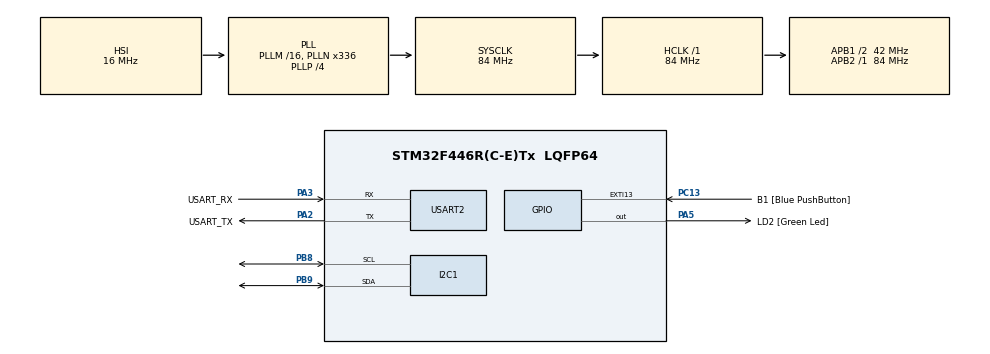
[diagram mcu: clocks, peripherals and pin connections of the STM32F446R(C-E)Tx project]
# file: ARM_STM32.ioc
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Mcu.Family=STM32F4
Mcu.Name=STM32F446R(C-E)Tx
Mcu.Package=LQFP64
NVIC.PriorityGroup=NVIC_PRIORITYGROUP_0
PA13.GPIO_Label=TMS
PA13.Mode=Serial_Wire
PA13.Signal=SYS_JTMS-SWDIO
PA14.GPIO_Label=TCK
PA14.Mode=Serial_Wire
PA14.Signal=SYS_JTCK-SWCLK
PA2.GPIO_Label=USART_TX
PA2.Mode=Asynchronous
PA2.Signal=USART2_TX
PA3.GPIO_Label=USART_RX
PA3.Mode=Asynchronous
PA3.Signal=USART2_RX
PA5.GPIO_Label=LD2 [Green Led]
PA5.Signal=GPIO_Output
PB3.GPIO_Label=SWO
PB3.Signal=SYS_JTDO-SWO
PB8.GPIO_Pu=GPIO_PULLUP
PB8.Mode=I2C
PB8.Signal=I2C1_SCL
PB9.GPIO_Pu=GPIO_PULLUP
PB9.Mode=I2C
PB9.Signal=I2C1_SDA
PC13.GPIO_Label=B1 [Blue PushButton]
PC13.GPIO_ModeDefaultEXTI=GPIO_MODE_IT_FALLING
PC13.Signal=GPXTI13
PC14-OSC32_IN.Mode=LSE-External-Oscillator
PC14-OSC32_IN.Signal=RCC_OSC32_IN
PC15-OSC32_OUT.Mode=LSE-External-Oscillator
PC15-OSC32_OUT.Signal=RCC_OSC32_OUT
PH0-OSC_IN.Mode=HSE-External-Oscillator
PH0-OSC_IN.Signal=RCC_OSC_IN
PH1-OSC_OUT.Mode=HSE-External-Oscillator
PH1-OSC_OUT.Signal=RCC_OSC_OUT
ProjectManager.HeapSize=0x200
ProjectManager.StackSize=0x400
ProjectManager.TargetToolchain=CMake
RCC.48MHZClocksFreq_Value=84000000
RCC.AHBFreq_Value=84000000
RCC.APB1CLKDivider=RCC_HCLK_DIV2
RCC.APB1Freq_Value=42000000
RCC.APB1TimFreq_Value=84000000
RCC.APB2Freq_Value=84000000
RCC.APB2TimFreq_Value=84000000
RCC.CortexFreq_Value=84000000
RCC.FLatency-AdvancedSettings=FLASH_LATENCY_2
RCC.HCLKFreq_Value=84000000
RCC.HSE_VALUE=8000000
RCC.HSI_VALUE=16000000
RCC.PLLN=336
RCC.PLLP=RCC_PLLP_DIV4
RCC.SYSCLKFreq_VALUE=84000000
RCC.SYSCLKSource=RCC_SYSCLKSOURCE_PLLCLK
RCC.USBFreq_Value=168000000
RCC.VCOOutputFreq_Value=336000000
USART2.VirtualMode=VM_ASYNC
board=NUCLEO-F446RE

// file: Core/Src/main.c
/* USER CODE BEGIN Header */
/**
  ******************************************************************************
  * @file           : main.c
  * @brief          : Main program body
  ******************************************************************************
  * @attention
  *
  * Copyright (c) 2026 STMicroelectronics.
  * All rights reserved.
  *
  * This software is licensed under terms that can be found in the LICENSE file
  * in the root directory of this software component.
  * If no LICENSE file comes with this software, it is provided AS-IS.
  *
  ******************************************************************************
  */
/* USER CODE END Header */
#include "main.h"
#include "stm32f4xx_hal.h"

/* USER CODE BEGIN Includes */
#include <string.h>
#include <stdio.h>
#include <stdlib.h>

/* USER CODE END Includes */

I2C_HandleTypeDef hi2c1;

UART_HandleTypeDef huart2;

/* USER CODE BEGIN PV */
// Sistema di controllo con pulsanti
uint8_t selected_servo = 0;  // Servo selezionato
// SERVO 3  = SERVO 2 (codice/array index 2)
uint8_t servo_angles[6] = {90, 90, 120, 90, 90, 120}; // Angoli dei 6 servo

// Direzione di rotazione per ogni servo (1 = avanti, -1 = indietro)
// Servo 5 parte da 120° e va verso il basso (direzione -1)
int8_t servo_direction[6] = {1, 1, 1, 1, 1, -1};

// Definizione angoli per i 4 pulsanti (SOLO GPIOA per test)
// A0=0°, A1=90°, A4=180°, A5=90° (ignoriamo A2/A3 per ora)
const uint8_t button_angles[6] = {0, 90, 90, 135, 180, 90};

// Debounce separato per ogni pulsante (6 pulsanti angoli + USER button = 7)
uint32_t last_button_time[7] = {0, 0, 0, 0, 0, 0, 0};
#define DEBOUNCE_DELAY 250  // ms

// Variabile per memorizzare l'angolo del servo
uint8_t servo_angle = 90; // Angolo iniziale a 90°
uint8_t servo_channel = 0; // Canale del servo (0-15)

// Buffer per ricezione UART
uint8_t rx_buffer[50];    // Buffer per costruire il comando
uint8_t rx_index = 0;     // Indice nel buffer comando
uint8_t rx_data;          // Singolo carattere ricevuto

/* USER CODE END PV */

void SystemClock_Config(void);
static void MX_GPIO_Init(void);
static void MX_USART2_UART_Init(void);
static void MX_I2C1_Init(void);

/* USER CODE BEGIN 0 */

// Indirizzo I2C del PCA9685
#define PCA9685_ADDRESS (0x40 << 1)

// Registri PCA9685
#define PCA9685_MODE1 0x00
#define PCA9685_PRESCALE 0xFE
#define LED0_ON_L 0x06

// Funzione per convertire angolo in valore PWM per servo
// Per servo standard: 1ms=0°, 1.5ms=90°, 2ms=180°
uint16_t Servo_AngleToPWM(uint8_t angle, uint8_t channel) {
    // Limita l'angolo tra 0 e 180
    if (angle > 180) angle = 180;

    // Tutti i servo usano lo stesso range INVERTITO
    // Range INVERTITO: da 410 (2ms) a 205 (1ms)
    uint16_t pwm = 410 - ((uint32_t)angle * 205 / 180);

    return pwm;
}

// Funzione di inizializzazione con controllo errori
HAL_StatusTypeDef PCA9685_Init(void) {
    uint8_t data;
    HAL_StatusTypeDef status;

    // Test 1: Verifica comunicazione I2C
    status = HAL_I2C_IsDeviceReady(&hi2c1, PCA9685_ADDRESS, 3, 100);
    if (status != HAL_OK) {
        // NON TROVA IL PCA9685: lampeggia 15 volte VELOCE
        for(int i = 0; i < 15; i++) {
            HAL_GPIO_WritePin(LD2_GPIO_Port, LD2_Pin, GPIO_PIN_SET);
            HAL_Delay(80);
            HAL_GPIO_WritePin(LD2_GPIO_Port, LD2_Pin, GPIO_PIN_RESET);
            HAL_Delay(80);
        }
        return status;
    }

    // Reset completo via I2C
    data = 0x06;
    HAL_I2C_Master_Transmit(&hi2c1, 0x00, &data, 1, 100);
    HAL_Delay(10);

    // Sleep mode per cambiare prescaler
    data = 0x10; // Solo bit SLEEP attivo
    status = HAL_I2C_Mem_Write(&hi2c1, PCA9685_ADDRESS, PCA9685_MODE1, 1, &data, 1, 100);
    if (status != HAL_OK) {
        // ERRORE scrittura MODE1: lampeggia LED veloce 5 volte
        for(int i = 0; i < 5; i++) {
            HAL_GPIO_WritePin(LD2_GPIO_Port, LD2_Pin, GPIO_PIN_SET);
            HAL_Delay(100);
            HAL_GPIO_WritePin(LD2_GPIO_Port, LD2_Pin, GPIO_PIN_RESET);
            HAL_Delay(100);
        }
        return status;
    }
    HAL_Delay(10);

    // Imposta frequenza a 50Hz (per servo)
    // Prescaler = round(25MHz / (4096 * 50Hz)) - 1 = 121
    data = 121; // Prescaler per ~50Hz (standard per servo)
    status = HAL_I2C_Mem_Write(&hi2c1, PCA9685_ADDRESS, PCA9685_PRESCALE, 1, &data, 1, 100);
    if (status != HAL_OK) return status;
    HAL_Delay(5);

    // Risveglia il chip: scrivi 0x00 per uscire da sleep
    data = 0x00;
    status = HAL_I2C_Mem_Write(&hi2c1, PCA9685_ADDRESS, PCA9685_MODE1, 1, &data, 1, 100);
    if (status != HAL_OK) return status;
    HAL_Delay(1);

    data = 0x20; // Bit 5 = AI (Auto-Increment)
    status = HAL_I2C_Mem_Write(&hi2c1, PCA9685_ADDRESS, PCA9685_MODE1, 1, &data, 1, 100);
    if (status != HAL_OK) return status;
    HAL_Delay(1);

    // IMPORTANTE: Spegnere TUTTI i canali PWM prima di usarli
    // Questo previene segnali spazzatura che fanno tremare i servo
    for(int i = 0; i < 16; i++) {
        // Imposta OFF = 4096 (sempre OFF, nessun segnale PWM)
        uint8_t off_data[4] = {0, 0, 0, 0x10}; // 0x1000 = 4096 in little-endian
        HAL_I2C_Mem_Write(&hi2c1, PCA9685_ADDRESS, LED0_ON_L + 4 * i, 1, off_data, 4, 100);
    }
    HAL_Delay(10);

    // Leggi MODE1 per debug
    uint8_t mode1_read;
    status = HAL_I2C_Mem_Read(&hi2c1, PCA9685_ADDRESS, PCA9685_MODE1, 1, &mode1_read, 1, 100);

    // Debug: lampeggia in base al valore di MODE1
    if (mode1_read == 0x20 || mode1_read == 0x21) {
        // SUCCESS - 2 lampeggi LENTI
        for(int i = 0; i < 2; i++) {
            HAL_GPIO_WritePin(LD2_GPIO_Port, LD2_Pin, GPIO_PIN_SET);
            HAL_Delay(300);
            HAL_GPIO_WritePin(LD2_GPIO_Port, LD2_Pin, GPIO_PIN_RESET);
            HAL_Delay(300);
        }
    } else if (mode1_read & 0x10) {
        // Ancora in SLEEP - 10 lampeggi
        for(int i = 0; i < 10; i++) {
            HAL_GPIO_WritePin(LD2_GPIO_Port, LD2_Pin, GPIO_PIN_SET);
            HAL_Delay(100);
            HAL_GPIO_WritePin(LD2_GPIO_Port, LD2_Pin, GPIO_PIN_RESET);
            HAL_Delay(100);
        }
    } else {
        // Valore MODE1 inaspettato: lampeggia 7 volte
        for(int i = 0; i < 7; i++) {
            HAL_GPIO_WritePin(LD2_GPIO_Port, LD2_Pin, GPIO_PIN_SET);
            HAL_Delay(150);
            HAL_GPIO_WritePin(LD2_GPIO_Port, LD2_Pin, GPIO_PIN_RESET);
            HAL_Delay(150);
        }
    }

    return HAL_OK;
}

// Funzione per impostare PWM con controllo errori
HAL_StatusTypeDef PCA9685_SetPWM(uint8_t channel, uint16_t on, uint16_t off) {
    uint8_t data[4];
    data[0] = on & 0xFF;
    data[1] = on >> 8;
    data[2] = off & 0xFF;
    data[3] = off >> 8;

    return HAL_I2C_Mem_Write(&hi2c1, PCA9685_ADDRESS, LED0_ON_L + 4 * channel, 1, data, 4, 100);
}

// Funzione per spegnere completamente il PWM di un canale
void PCA9685_DisablePWM(uint8_t channel) {
    // Imposta OFF = 4096 (bit 12) per spegnere completamente l'uscita
    uint8_t data[4] = {0, 0, 0, 0x10}; // 0x1000 = 4096
    HAL_I2C_Mem_Write(&hi2c1, PCA9685_ADDRESS, LED0_ON_L + 4 * channel, 1, data, 4, 100);
}

// Funzione per muovere il servo a un angolo specifico
void Servo_SetAngle(uint8_t channel, uint8_t angle) {
    uint16_t pwm = Servo_AngleToPWM(angle, channel);
    PCA9685_SetPWM(channel, 0, pwm);
}

// Funzione per indicare il servo selezionato con lampeggi LED
void IndicateSelectedServo(uint8_t servo_num) {
    // Lampeggia LED N volte (N = servo_num + 1)
    for(int i = 0; i <= servo_num; i++) {
        HAL_GPIO_WritePin(LD2_GPIO_Port, LD2_Pin, GPIO_PIN_SET);
        HAL_Delay(150);
        HAL_GPIO_WritePin(LD2_GPIO_Port, LD2_Pin, GPIO_PIN_RESET);
        HAL_Delay(150);
    }
    HAL_Delay(500);
}

// Funzione per verificare se un pulsante è premuto (con debounce)
// button_id: 0-5 per i pulsanti angoli, 6 per USER button
uint8_t IsButtonPressed(GPIO_TypeDef* GPIOx, uint16_t GPIO_Pin, uint8_t button_id) {
    if (HAL_GetTick() - last_button_time[button_id] < DEBOUNCE_DELAY) {
        return 0; // Ignora se troppo presto
    }

    if (HAL_GPIO_ReadPin(GPIOx, GPIO_Pin) == GPIO_PIN_RESET) {
        last_button_time[button_id] = HAL_GetTick();
        return 1;
    }
    return 0;
}

// Funzione per inviare messaggio via UART
void UART_SendString(char* str) {
    HAL_UART_Transmit(&huart2, (uint8_t*)str, strlen(str), 100);
}

// Funzione per processare comandi ricevuti via UART
void ProcessCommand(char* cmd) {
    char response[100];

    // Comando: imposta angolo del servo (0-180)
    if (strncmp(cmd, "angle ", 6) == 0) {
        int angle = atoi(cmd + 6);
        if (angle >= 0 && angle <= 180) {
            servo_angle = angle;
            Servo_SetAngle(servo_channel, servo_angle);
            sprintf(response, "OK: Servo a %d gradi\r\n", servo_angle);
            UART_SendString(response);
        } else {
            UART_SendString("ERROR: Angolo deve essere 0-180\r\n");
        }
    }
    // Comando: - seleziona canale servo (0-15)
    else if (strncmp(cmd, "channel ", 8) == 0) {
        int ch = atoi(cmd + 8);
        if (ch >= 0 && ch <= 15) {
            servo_channel = ch;
            sprintf(response, "OK: Canale %d selezionato\r\n", servo_channel);
            UART_SendString(response);
        } else {
            UART_SendString("ERROR: Canale deve essere 0-15\r\n");
        }
    }
    // Comando:  - mostra stato corrente
    else if (strcmp(cmd, "status") == 0) {
        sprintf(response, "Canale: %d, Angolo: %d°\r\n", servo_channel, servo_angle);
        UART_SendString(response);
    }
    // Comando: - mostra comandi disponibili
    else if (strcmp(cmd, "help") == 0) {
        UART_SendString("\r\n=== COMANDI DISPONIBILI ===\r\n");
        UART_SendString("angle XXX    - Imposta angolo (0-180)\r\n");
        UART_SendString("channel X    - Seleziona canale (0-15)\r\n");
        UART_SendString("status       - Mostra stato corrente\r\n");
        UART_SendString("help         - Mostra questo menu\r\n");
        UART_SendString("===========================\r\n\r\n");
    }
    else {
        UART_SendString("ERROR: Comando non riconosciuto. Scrivi 'help'\r\n");
    }
}

/* USER CODE END 0 */

int main(void)
{

  /* MCU Configuration--------------------------------------------------------*/

  /* Reset of all peripherals, Initializes the Flash interface and the Systick. */
  HAL_Init();

  /* Configure the system clock */
  SystemClock_Config();

  /* Initialize all configured peripherals */
  MX_GPIO_Init();
  MX_USART2_UART_Init();
  MX_I2C1_Init();
  /* USER CODE BEGIN 2 */

  // LED verde lampeggia 3 volte VELOCE - programma avviato
  for(int i = 0; i < 3; i++) {
      HAL_GPIO_WritePin(LD2_GPIO_Port, LD2_Pin, GPIO_PIN_SET);
      HAL_Delay(100);
      HAL_GPIO_WritePin(LD2_GPIO_Port, LD2_Pin, GPIO_PIN_RESET);
      HAL_Delay(100);
  }
  HAL_Delay(500);

  // Inizializza PCA9685
  HAL_StatusTypeDef init_status = PCA9685_Init();

  if (init_status != HAL_OK) {
      // Errore inizializzazione - LED fisso
      HAL_GPIO_WritePin(LD2_GPIO_Port, LD2_Pin, GPIO_PIN_SET);
      while(1);
  }

  // Posiziona i servo nelle posizioni iniziali sicure
  for(int i = 0; i < 6; i++) {
      if (i == 2) {
          servo_angles[i] = 110; // Solo per tenere traccia, ma non invia PWM
      } else if (i == 3) {  // SERVO 3 Inizializza a 120°
          Servo_SetAngle(i, 120);
          servo_angles[i] = 120;
      } else if (i == 5) {  // SERVO 5 - Inizializza a 120°
          Servo_SetAngle(i, 120);
          servo_angles[i] = 120;
      } else {
          Servo_SetAngle(i, 90);  // Altri servo a 90°
          servo_angles[i] = 90;
      }
  }
  HAL_Delay(500);

  // Messaggio di benvenuto via UART
  UART_SendString("\r\n\r\n");
  UART_SendString("================================\r\n");
  UART_SendString("  CONTROLLO 6 SERVO CON PULSANTI\r\n");
  UART_SendString("  STM32 + PCA9685\r\n");
  UART_SendString("================================\r\n");
  UART_SendString("USER: Cambia servo\r\n");
  UART_SendString("A0-A5: Angoli (30-180)\r\n\r\n");

  IndicateSelectedServo(selected_servo);

  /* USER CODE END 2 */

  /* Infinite loop */
  while (1)
  {

    /* USER CODE BEGIN 3 */

    // ============= PULSANTE USER: Cambio Servo =============
    if (HAL_GPIO_ReadPin(B1_GPIO_Port, B1_Pin) == GPIO_PIN_RESET) {
        // Aspetta rilascio pulsante
        while(HAL_GPIO_ReadPin(B1_GPIO_Port, B1_Pin) == GPIO_PIN_RESET) {
            HAL_Delay(10);
        }
        // Cambia servo selezionato (0-5)
        selected_servo = (selected_servo + 1) % 6;
        // Indica servo selezionato con lampeggi
        IndicateSelectedServo(selected_servo);
        HAL_Delay(300); // Debounce
    }

    // ============= TEST DIAGNOSTICO - STAMPA STATO PIN =============
    static uint32_t last_debug_time = 0;

    // Ogni secondo, stampa lo stato di tutti i pin (per debug con LED)
    if (HAL_GetTick() - last_debug_time > 2000) {
        last_debug_time = HAL_GetTick();
        // Lampeggio veloce = sistema vivo
        for(int i=0; i<2; i++) {
            HAL_GPIO_WritePin(LD2_GPIO_Port, LD2_Pin, GPIO_PIN_SET);
            HAL_Delay(50);
            HAL_GPIO_WritePin(LD2_GPIO_Port, LD2_Pin, GPIO_PIN_RESET);
            HAL_Delay(50);
        }
    }

    // ============= PULSANTI: Movimento servo selezionato =============
    // Servo 3 (array index 2) è bloccato: non viene mai mosso
    static uint8_t button_was_pressed = 0;

    if (HAL_GPIO_ReadPin(GPIOA, GPIO_PIN_10) == GPIO_PIN_RESET) {
        button_was_pressed = 1;  // Pulsante premuto

        if (selected_servo == 2) {
            // Servo 3 bloccato: non muovere
        } else if (selected_servo == 3) {
            // Servo 4 (array index 3): limitato tra 120° e 180°
            servo_angles[selected_servo] += (2 * servo_direction[selected_servo]);
            if (servo_angles[selected_servo] >= 180) {
                servo_angles[selected_servo] = 180;
                servo_direction[selected_servo] = -1;
            } else if (servo_angles[selected_servo] <= 120) {
                servo_angles[selected_servo] = 120;
                servo_direction[selected_servo] = 1;
            }
            Servo_SetAngle(selected_servo, servo_angles[selected_servo]);
            HAL_Delay(10);
        } else if (selected_servo == 5) {
            // Servo 6 (array index 5): limitato tra 60° e 120°
            servo_angles[selected_servo] += (2 * servo_direction[selected_servo]);
            if (servo_angles[selected_servo] >= 120) {
                servo_angles[selected_servo] = 120;
                servo_direction[selected_servo] = -1;
            } else if (servo_angles[selected_servo] <= 45) {
                servo_angles[selected_servo] = 45;
                servo_direction[selected_servo] = 1;
            }
            Servo_SetAngle(selected_servo, servo_angles[selected_servo]);
            HAL_Delay(10);
        } else {
            // Oscillazione avanti-indietro per altri servo (range completo 0-180°)
            servo_angles[selected_servo] += (2 * servo_direction[selected_servo]);
            if (servo_angles[selected_servo] >= 180) {
                servo_angles[selected_servo] = 180;
                servo_direction[selected_servo] = -1;
            } else if (servo_angles[selected_servo] <= 0) {
                servo_angles[selected_servo] = 0;
                servo_direction[selected_servo] = 1;
            }
            Servo_SetAngle(selected_servo, servo_angles[selected_servo]);
            HAL_Delay(10);
        }
    } else {
        // Pulsante rilasciato - spegni PWM del servo selezionato
        if (button_was_pressed && selected_servo != 2) {
            PCA9685_DisablePWM(selected_servo);
            button_was_pressed = 0;
        }
    }
    // D3 (PB3): Reset posizione servo selezionato
    if (HAL_GPIO_ReadPin(GPIOB, GPIO_PIN_3) == GPIO_PIN_RESET) {
        if (selected_servo == 2) {
            // Servo 3 bloccato: non muovere
        } else if (selected_servo == 3){
            servo_angles[selected_servo] = 120;
            Servo_SetAngle(selected_servo, 120);
            HAL_Delay(500);  // Aspetta che raggiunga la posizione
            PCA9685_DisablePWM(selected_servo);  // Poi spegni PWM
        } else if (selected_servo == 5){
            servo_angles[selected_servo] = 120;
            Servo_SetAngle(selected_servo, 120);
            HAL_Delay(500);  // Aspetta che raggiunga la posizione
            PCA9685_DisablePWM(selected_servo);  // Poi spegni PWM
        } else{
            servo_angles[selected_servo] = 90;
            Servo_SetAngle(selected_servo, 90);
            HAL_Delay(500);  // Aspetta che raggiunga la posizione
            PCA9685_DisablePWM(selected_servo);  // Poi spegni PWM
        }
        while(HAL_GPIO_ReadPin(GPIOB, GPIO_PIN_3) == GPIO_PIN_RESET) {
            HAL_Delay(10);
        }
        HAL_Delay(200);
    }
    // Piccolo delay per non sovraccaricare
    HAL_Delay(10);

  }
  /* USER CODE END 3 */
}

void SystemClock_Config(void)
{
  RCC_OscInitTypeDef RCC_OscInitStruct = {0};
  RCC_ClkInitTypeDef RCC_ClkInitStruct = {0};

  /** Configure the main internal regulator output voltage
  */
  __HAL_RCC_PWR_CLK_ENABLE();
  __HAL_PWR_VOLTAGESCALING_CONFIG(PWR_REGULATOR_VOLTAGE_SCALE3);

  /** Initializes the RCC Oscillators according to the specified parameters
  * in the RCC_OscInitTypeDef structure.
  */
  RCC_OscInitStruct.OscillatorType = RCC_OSCILLATORTYPE_HSI;
  RCC_OscInitStruct.HSIState = RCC_HSI_ON;
  RCC_OscInitStruct.HSICalibrationValue = RCC_HSICALIBRATION_DEFAULT;
  RCC_OscInitStruct.PLL.PLLState = RCC_PLL_ON;
  RCC_OscInitStruct.PLL.PLLSource = RCC_PLLSOURCE_HSI;
  RCC_OscInitStruct.PLL.PLLM = 16;
  RCC_OscInitStruct.PLL.PLLN = 336;
  RCC_OscInitStruct.PLL.PLLP = RCC_PLLP_DIV4;
  RCC_OscInitStruct.PLL.PLLQ = 2;
  RCC_OscInitStruct.PLL.PLLR = 2;
  if (HAL_RCC_OscConfig(&RCC_OscInitStruct) != HAL_OK)
  {
    Error_Handler();
  }

  /** Initializes the CPU, AHB and APB buses clocks
  */
  RCC_ClkInitStruct.ClockType = RCC_CLOCKTYPE_HCLK|RCC_CLOCKTYPE_SYSCLK
                              |RCC_CLOCKTYPE_PCLK1|RCC_CLOCKTYPE_PCLK2;
  RCC_ClkInitStruct.SYSCLKSource = RCC_SYSCLKSOURCE_PLLCLK;
  RCC_ClkInitStruct.AHBCLKDivider = RCC_SYSCLK_DIV1;
  RCC_ClkInitStruct.APB1CLKDivider = RCC_HCLK_DIV2;
  RCC_ClkInitStruct.APB2CLKDivider = RCC_HCLK_DIV1;

  if (HAL_RCC_ClockConfig(&RCC_ClkInitStruct, FLASH_LATENCY_2) != HAL_OK)
  {
    Error_Handler();
  }
}

static void MX_I2C1_Init(void)
{

  hi2c1.Instance = I2C1;
  hi2c1.Init.ClockSpeed = 100000;
  hi2c1.Init.DutyCycle = I2C_DUTYCYCLE_2;
  hi2c1.Init.OwnAddress1 = 0;
  hi2c1.Init.AddressingMode = I2C_ADDRESSINGMODE_7BIT;
  hi2c1.Init.DualAddressMode = I2C_DUALADDRESS_DISABLE;
  hi2c1.Init.OwnAddress2 = 0;
  hi2c1.Init.GeneralCallMode = I2C_GENERALCALL_DISABLE;
  hi2c1.Init.NoStretchMode = I2C_NOSTRETCH_DISABLE;
  if (HAL_I2C_Init(&hi2c1) != HAL_OK)
  {
    Error_Handler();
  }

}

static void MX_USART2_UART_Init(void)
{

  huart2.Instance = USART2;
  huart2.Init.BaudRate = 115200;
  huart2.Init.WordLength = UART_WORDLENGTH_8B;
  huart2.Init.StopBits = UART_STOPBITS_1;
  huart2.Init.Parity = UART_PARITY_NONE;
  huart2.Init.Mode = UART_MODE_TX_RX;
  huart2.Init.HwFlowCtl = UART_HWCONTROL_NONE;
  huart2.Init.OverSampling = UART_OVERSAMPLING_16;
  if (HAL_UART_Init(&huart2) != HAL_OK)
  {
    Error_Handler();
  }

}

static void MX_GPIO_Init(void)
{
  GPIO_InitTypeDef GPIO_InitStruct = {0};

  /* GPIO Ports Clock Enable */
  __HAL_RCC_GPIOC_CLK_ENABLE();
  __HAL_RCC_GPIOH_CLK_ENABLE();
  __HAL_RCC_GPIOA_CLK_ENABLE();
  __HAL_RCC_GPIOB_CLK_ENABLE();

  /*Configure GPIO pin Output Level */
  HAL_GPIO_WritePin(LD2_GPIO_Port, LD2_Pin, GPIO_PIN_RESET);

  /*Configure GPIO pin : B1_Pin */
  GPIO_InitStruct.Pin = B1_Pin;
  GPIO_InitStruct.Mode = GPIO_MODE_IT_FALLING;
  GPIO_InitStruct.Pull = GPIO_NOPULL;
  HAL_GPIO_Init(B1_GPIO_Port, &GPIO_InitStruct);

  /*Configure GPIO pin : LD2_Pin */
  GPIO_InitStruct.Pin = LD2_Pin;
  GPIO_InitStruct.Mode = GPIO_MODE_OUTPUT_PP;
  GPIO_InitStruct.Pull = GPIO_NOPULL;
  GPIO_InitStruct.Speed = GPIO_SPEED_FREQ_LOW;
  HAL_GPIO_Init(LD2_GPIO_Port, &GPIO_InitStruct);

  /* USER CODE BEGIN MX_GPIO_Init_2 */

  // Configurazione 3 pulsanti: D2, D3, D4
  // D2=PA10 (rotazione continua), D3=PB3 (reset), D4=PB5 (nessuna azione)

  // PA10 (D2)
  GPIO_InitStruct.Pin = GPIO_PIN_10;
  GPIO_InitStruct.Mode = GPIO_MODE_INPUT;
  GPIO_InitStruct.Pull = GPIO_PULLUP;
  HAL_GPIO_Init(GPIOA, &GPIO_InitStruct);

  // PB3, PB5 (D3, D4)
  GPIO_InitStruct.Pin = GPIO_PIN_3 | GPIO_PIN_5;
  GPIO_InitStruct.Mode = GPIO_MODE_INPUT;
  GPIO_InitStruct.Pull = GPIO_PULLUP;
  HAL_GPIO_Init(GPIOB, &GPIO_InitStruct);

  /* USER CODE END MX_GPIO_Init_2 */
}

/* USER CODE BEGIN 4 */

// Callback per ricezione UART
void HAL_UART_RxCpltCallback(UART_HandleTypeDef *huart) {
    if (huart->Instance == USART2) {
        char received = rx_data;  // Carattere ricevuto

        // Echo del carattere ricevuto (eccetto \r e \n che gestiamo dopo)
        if (received != '\r' && received != '\n') {
            HAL_UART_Transmit(&huart2, (uint8_t*)&received, 1, 10);
        }

        if (received == '\r' || received == '\n') {
            // Fine comando - elabora
            if (rx_index > 0) {
                rx_buffer[rx_index] = '\0'; // Termina stringa
                UART_SendString("\r\n");
                ProcessCommand((char*)rx_buffer);
                rx_index = 0; // Reset buffer
            } else {
                UART_SendString("\r\n");  // Solo newline se buffer vuoto
            }
        } else if (received == 127 || received == 8) {
            // Backspace
            if (rx_index > 0) {
                rx_index--;
                UART_SendString("\b \b");  // Cancella carattere visivamente
            }
        } else if (rx_index < 49) {
            // Aggiungi carattere al buffer comando
            rx_buffer[rx_index] = received;
            rx_index++;
        } else {
            // Buffer pieno - reset
            rx_index = 0;
            UART_SendString("\r\nERROR: Comando troppo lungo\r\n");
        }

        // Riabilita ricezione
        HAL_UART_Receive_IT(&huart2, &rx_data, 1);
    }
}

/* USER CODE END 4 */

void Error_Handler(void)
{
  __disable_irq();
  while (1)
  {
  }
}
